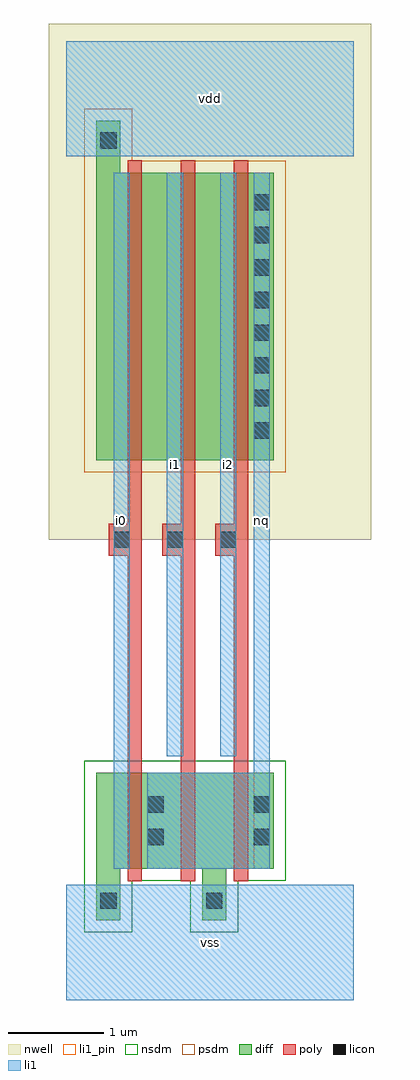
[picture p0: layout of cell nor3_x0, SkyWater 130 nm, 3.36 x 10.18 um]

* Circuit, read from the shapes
.subckt nor3_x0 i0 i1 i2 nq vdd vss
XM1 nq i0 vss VSUBS sky130_fd_pr__nfet_01v8 w=1 l=0.15
XM2 vss i1 nq VSUBS sky130_fd_pr__nfet_01v8 w=1 l=0.15
XM3 nq i2 vss VSUBS sky130_fd_pr__nfet_01v8 w=1 l=0.15
XM4 n1 i0 vdd n2 sky130_fd_pr__pfet_01v8 w=3 l=0.15
XM5 n3 i1 n1 n2 sky130_fd_pr__pfet_01v8 w=3 l=0.15
XM6 nq i2 n3 n2 sky130_fd_pr__pfet_01v8 w=3 l=0.15
.ends

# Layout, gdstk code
import gdstk
lib = gdstk.Library(unit=1e-6, precision=1e-09)
def R(c, l, rs):  # rectangles x0, y0, x1, y1
    for r in rs: c.add(gdstk.rectangle(r[:2], r[2:], *l))
def A(c, l, x, y, w, h, nx, ny, dx, dy):  # array of equal rectangles
    R(c, l, [(x+i*dx, y+j*dy, x+i*dx+w, y+j*dy+h) for i in range(nx) for j in range(ny)])
def P(c, l, *ps):  # polygons
    for p in ps: c.add(gdstk.Polygon(p, *l))
nwell = (64, 20)
diff = (65, 20)
poly = (66, 20)
licon = (66, 44)
li1_pin = (67, 16)
li1 = (67, 20)
nsdm = (93, 44)
psdm = (94, 20)

nor3_x0 = lib.new_cell('nor3_x0')
R(nor3_x0, nwell, [(-0.18,4.8,3.18,10.18)])
P(nor3_x0, diff, [(0.315,0.83),(0.315,2.37),(2.165,2.37),(2.165,1.37),(1.67,1.37),(1.67,0.83),(1.42,0.83),(1.42,1.37),(0.565,1.37),(0.565,0.83)],
  [(0.315,5.63),(0.315,9.17),(0.565,9.17),(0.565,8.63),(2.165,8.63),(2.165,5.63)])
P(nor3_x0, poly, [(0.64,1.24),(0.64,4.635),(0.445,4.635),(0.445,4.965),(0.64,4.965),(0.64,8.76),(0.79,8.76),(0.79,1.24)],
  [(1.195,1.24),(1.195,4.635),(1,4.635),(1,4.965),(1.195,4.965),(1.195,8.76),(1.345,8.76),(1.345,1.24)],
  [(1.75,1.24),(1.75,4.635),(1.555,4.635),(1.555,4.965),(1.75,4.965),(1.75,8.76),(1.9,8.76),(1.9,1.24)])
A(nor3_x0, licon, 0.495, 4.715, 0.17, 0.17, 3, 1, 0.555, 0)
A(nor3_x0, licon, 1.955, 5.855, 0.17, 0.17, 1, 8, 0, 0.34)
R(nor3_x0, licon, [(0.355,0.95,0.525,1.12), (1.46,0.95,1.63,1.12), (0.845,1.615,1.015,1.785), (1.955,1.615,2.125,1.785), (0.845,1.955,1.015,2.125), (1.955,1.955,2.125,2.125), (0.355,8.88,0.525,9.05)])
R(nor3_x0, li1_pin, [(0,0,3,1.2), (0.495,1.37,0.665,8.63), (1.955,1.37,2.125,8.63), (1.05,2.54,1.22,8.63), (1.605,2.54,1.775,8.63), (0,8.8,3,10)])
R(nor3_x0, li1, [(0,0,3,1.2), (0.495,1.37,0.665,8.63), (1.05,2.54,1.22,8.63), (1.605,2.54,1.775,8.63), (0,8.8,3,10)])
P(nor3_x0, li1, [(0.845,1.37),(0.845,2.37),(1.955,2.37),(1.955,8.63),(2.125,8.63),(2.125,1.37)])
P(nor3_x0, nsdm, [(0.19,0.705),(0.19,2.495),(2.29,2.495),(2.29,1.245),(1.795,1.245),(1.795,0.705),(1.295,0.705),(1.295,1.245),(0.69,1.245),(0.69,0.705)])
P(nor3_x0, psdm, [(0.19,5.505),(0.19,9.295),(0.69,9.295),(0.69,8.755),(2.29,8.755),(2.29,5.505)])
nor3_x0.add(gdstk.Label('vss', (1.5,0.6), layer=67, texttype=16))
nor3_x0.add(gdstk.Label('vdd', (1.5,9.4), layer=67, texttype=16))
nor3_x0.add(gdstk.Label('nq', (2.04,5), layer=67, texttype=16))
nor3_x0.add(gdstk.Label('i0', (0.58,5), layer=67, texttype=16))
nor3_x0.add(gdstk.Label('i1', (1.135,5.585), layer=67, texttype=16))
nor3_x0.add(gdstk.Label('i2', (1.69,5.585), layer=67, texttype=16))
nor3_x0.add(gdstk.Label('vss', (1.5,0.6), layer=67, texttype=16))
nor3_x0.add(gdstk.Label('vdd', (1.5,9.4), layer=67, texttype=16))
nor3_x0.add(gdstk.Label('nq', (2.04,5), layer=67, texttype=16))
nor3_x0.add(gdstk.Label('i0', (0.58,5), layer=67, texttype=16))
nor3_x0.add(gdstk.Label('i1', (1.135,5.585), layer=67, texttype=16))
nor3_x0.add(gdstk.Label('i2', (1.69,5.585), layer=67, texttype=16))

lib.write_gds('nor3_x0.gds')
